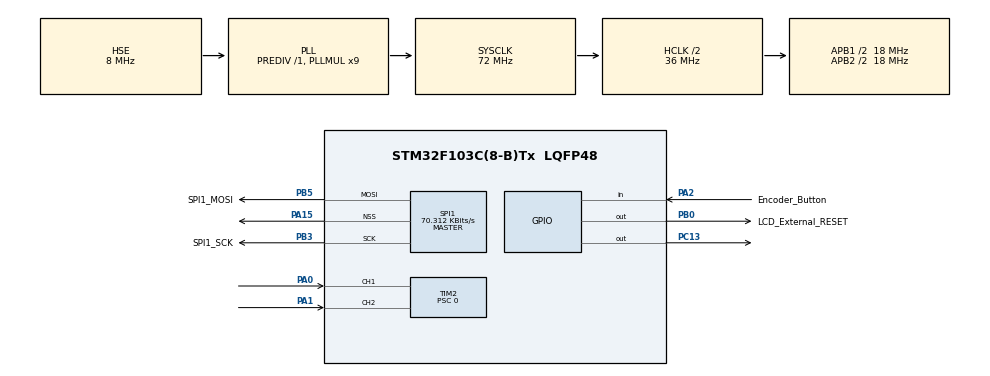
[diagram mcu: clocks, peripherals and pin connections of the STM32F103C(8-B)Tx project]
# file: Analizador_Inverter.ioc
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Mcu.Family=STM32F1
Mcu.Name=STM32F103C(8-B)Tx
Mcu.Package=LQFP48
NVIC.PriorityGroup=NVIC_PRIORITYGROUP_4
NVIC.SPI1_IRQn=true\:0\:0\:false\:false\:true\:true\:true
NVIC.TIM3_IRQn=true\:0\:0\:false\:false\:true\:true\:true
PA0-WKUP.Signal=S_TIM2_CH1_ETR
PA1.Signal=S_TIM2_CH2
PA13.Mode=Serial_Wire
PA13.Signal=SYS_JTMS-SWDIO
PA14.Mode=Serial_Wire
PA14.Signal=SYS_JTCK-SWCLK
PA15.Mode=NSS_Signal_Hard_Output
PA15.Signal=SPI1_NSS
PA2.GPIO_Label=Encoder_Button
PA2.Signal=GPIO_Input
PB0.GPIO_Label=LCD_External_RESET
PB0.Signal=GPIO_Output
PB3.GPIO_Label=SPI1_SCK
PB3.Mode=TX_Only_Simplex_Unidirect_Master
PB3.Signal=SPI1_SCK
PB5.GPIO_Label=SPI1_MOSI
PB5.Mode=TX_Only_Simplex_Unidirect_Master
PB5.Signal=SPI1_MOSI
PC13-TAMPER-RTC.Signal=GPIO_Output
PD0-OSC_IN.Mode=HSE-External-Oscillator
PD0-OSC_IN.Signal=RCC_OSC_IN
PD1-OSC_OUT.Mode=HSE-External-Oscillator
PD1-OSC_OUT.Signal=RCC_OSC_OUT
ProjectManager.HeapSize=0x200
ProjectManager.StackSize=0x400
ProjectManager.TargetToolchain=MDK-ARM V5
RCC.AHBCLKDivider=RCC_SYSCLK_DIV2
RCC.AHBFreq_Value=36000000
RCC.APB1CLKDivider=RCC_HCLK_DIV2
RCC.APB1Freq_Value=18000000
RCC.APB1TimFreq_Value=36000000
RCC.APB2CLKDivider=RCC_HCLK_DIV2
RCC.APB2Freq_Value=18000000
RCC.APB2TimFreq_Value=36000000
RCC.HCLKFreq_Value=36000000
RCC.PLLMUL=RCC_PLL_MUL9
RCC.PLLSourceVirtual=RCC_PLLSOURCE_HSE
RCC.SYSCLKFreq_VALUE=72000000
RCC.SYSCLKSource=RCC_SYSCLKSOURCE_PLLCLK
RCC.USBFreq_Value=72000000
SH.S_TIM2_CH1_ETR.0=TIM2_CH1,Encoder_Interface
SH.S_TIM2_CH2.0=TIM2_CH2,Encoder_Interface
SPI1.BaudRatePrescaler=SPI_BAUDRATEPRESCALER_256
SPI1.CLKPhase=SPI_PHASE_2EDGE
SPI1.CLKPolarity=SPI_POLARITY_HIGH
SPI1.CalculateBaudRate=70.312 KBits/s
SPI1.Direction=SPI_DIRECTION_2LINES
SPI1.Mode=SPI_MODE_MASTER
SPI1.VirtualNSS=VM_NSSHARD
SPI1.VirtualType=VM_MASTER
TIM1.Period=65535
TIM1.Prescaler=71
TIM2.ClockDivision=TIM_CLOCKDIVISION_DIV1
TIM2.IC1Filter=15
TIM2.IC2Filter=15
TIM2.Period=2
TIM2.Prescaler=0
TIM3.Period=1000
TIM3.Prescaler=35
VP_TIM1_VS_ClockSourceINT.Mode=Internal
VP_TIM3_VS_ClockSourceINT.Mode=Internal
board=custom

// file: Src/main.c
/**
  ******************************************************************************
  * @file           : main.c
  * @brief          : Main program body
  ******************************************************************************
  ** This notice applies to any and all portions of this file
  * that are not between comment pairs USER CODE BEGIN and
  * USER CODE END. Other portions of this file, whether
  * inserted by the user or by software development tools
  * are owned by their respective copyright owners.
  *
  * COPYRIGHT(c) 2020 STMicroelectronics
  *
  * Redistribution and use in source and binary forms, with or without modification,
  * are permitted provided that the following conditions are met:
  *   1. Redistributions of source code must retain the above copyright notice,
  *      this list of conditions and the following disclaimer.
  *   2. Redistributions in binary form must reproduce the above copyright notice,
  *      this list of conditions and the following disclaimer in the documentation
  *      and/or other materials provided with the distribution.
  *   3. Neither the name of STMicroelectronics nor the names of its contributors
  *      may be used to endorse or promote products derived from this software
  *      without specific prior written permission.
  *
  * THIS SOFTWARE IS PROVIDED BY THE COPYRIGHT HOLDERS AND CONTRIBUTORS "AS IS"
  * AND ANY EXPRESS OR IMPLIED WARRANTIES, INCLUDING, BUT NOT LIMITED TO, THE
  * IMPLIED WARRANTIES OF MERCHANTABILITY AND FITNESS FOR A PARTICULAR PURPOSE ARE
  * DISCLAIMED. IN NO EVENT SHALL THE COPYRIGHT HOLDER OR CONTRIBUTORS BE LIABLE
  * FOR ANY DIRECT, INDIRECT, INCIDENTAL, SPECIAL, EXEMPLARY, OR CONSEQUENTIAL
  * DAMAGES (INCLUDING, BUT NOT LIMITED TO, PROCUREMENT OF SUBSTITUTE GOODS OR
  * SERVICES; LOSS OF USE, DATA, OR PROFITS; OR BUSINESS INTERRUPTION) HOWEVER
  * CAUSED AND ON ANY THEORY OF LIABILITY, WHETHER IN CONTRACT, STRICT LIABILITY,
  * OR TORT (INCLUDING NEGLIGENCE OR OTHERWISE) ARISING IN ANY WAY OUT OF THE USE
  * OF THIS SOFTWARE, EVEN IF ADVISED OF THE POSSIBILITY OF SUCH DAMAGE.
  *
  ******************************************************************************
  */
#include "main.h"
#include "stm32f1xx_hal.h"

/* USER CODE BEGIN Includes */
#include "ST7920_SERIAL.h"
#include "delay.h"
#include "bitmap.h"
#include<string.h> //para hacer strlen(var)
/* USER CODE END Includes */

SPI_HandleTypeDef hspi1;

TIM_HandleTypeDef htim1;
TIM_HandleTypeDef htim2;
TIM_HandleTypeDef htim3;

/* USER CODE BEGIN PV */
/* Private variables ---------------------------------------------------------*/
uint8_t comenzar=0;
// Las variables que se tocan fuera del main tratar que sean Volatiles
volatile int8_t state=0;
volatile int8_t menuPrinted = 0;
volatile int8_t button = 0;
volatile int32_t contador_encoder=0XFF;//lo INICIALIZO FUERA DE RANGO
volatile uint8_t direccion_contador=0;

/* USER CODE END PV */

void SystemClock_Config(void);
static void MX_GPIO_Init(void);
static void MX_SPI1_Init(void);
static void MX_TIM1_Init(void);
static void MX_TIM2_Init(void);
static void MX_TIM3_Init(void);

/* USER CODE BEGIN PFP */
/* Private function prototypes -----------------------------------------------*/

/* USER CODE END PFP */

int main(void)
{

  /* MCU Configuration----------------------------------------------------------*/

  /* Reset of all peripherals, Initializes the Flash interface and the Systick. */
  HAL_Init();

  /* Configure the system clock */
  SystemClock_Config();

  /* Initialize all configured peripherals */
  MX_GPIO_Init();
  MX_SPI1_Init();
  MX_TIM1_Init();
  MX_TIM2_Init();
  MX_TIM3_Init();
  /* USER CODE BEGIN 2 */
	delay_init();
	ST7920_Init();
	HAL_TIM_Encoder_Start(&htim2,TIM_CHANNEL_ALL);

	ST7920_Clear();

	HAL_Delay(20);
	ST7920_GraphicMode(1);
	ST7920_DrawBitmap(bestools);
	HAL_Delay(20);

	ST7920_GraphicMode(0);
	ST7920_SendString(3,3, "M&M");
	HAL_Delay(1000);
	ST7920_Clear();
	ST7920_GraphicMode(1);
	ST7920_Clear();
	ST7920_GraphicMode(0);
	state=0; //Arranca con el menú principal

  /* USER CODE END 2 */

  /* Infinite loop */
  while (1)
  {

  /* USER CODE BEGIN 3 */
		if (menuPrinted == 0)
		{
			switch (state)
			// Este switch maneja el print del menú fijo
			{
				case 0:
					while(comenzar);
					ST7920_GraphicMode(1);
					ST7920_GraphicsDisplayString(0,0,"   Menu Inicio",0);
					ST7920_GraphicsDisplayString(2,0,"Test Completo",0);
					ST7920_GraphicsDisplayString(3,0,"Test Parcial",0);
					ST7920_GraphicsDisplayString(4,0,"Tipografia 5x7",0);
					//ST7920_GraphicsDisplayString5x7(5,0,"Tipografia 5x7 Mod",0);
					ST7920_GraphicsDisplayString5x7(5,0,"123 ",0);
					ST7920_GraphicsDisplayString5x7(6,0,"Gatos",0);
					ST7920_GraphicsDisplayString(7,0,"0",0);
					ST7920_GraphicsDisplayString(7,1,"1",0);
					ST7920_GraphicsDisplayString(7,2,"2",0);
					ST7920_GraphicsDisplayString(7,3,"3",0);
					ST7920_GraphicsDisplayString(7,4,"4",0);
					ST7920_GraphicsDisplayString(7,5,"5",0);
					ST7920_GraphicsDisplayString(7,6,"6",0);
					ST7920_GraphicsDisplayString(7,7,"7",0);
					ST7920_GraphicsDisplayString(7,8,"8",0);
					ST7920_GraphicMode(0);
					menuPrinted = 1; // Ya escribí el menú, miro el encoder
					break;

				case 1: //Analisis completo
					ST7920_GraphicMode(1);
					ST7920_Clear();
					ST7920_GraphicsDisplayString(0,0,"  Test Completo",0);
					ST7920_GraphicsDisplayString(2,0,"1.Colocar puntas",0);
					ST7920_GraphicsDisplayString(6,0,"Comenzar",0);
					ST7920_GraphicsDisplayString(7,0,"Cancelar",0);
					ST7920_GraphicMode(0);
					menuPrinted = 1; // Ya escribí el menú, miro el encoder
					break;

				default:
					while(1);
			}
		}
		else
		{
			if (state == 0)
			// Este if maneja el encoder y los parámetros variables del menú
			{
				HAL_TIM_Base_Start_IT(&htim3);
				switch (contador_encoder)
				{
					case 0:
						ST7920_GraphicMode(1);
						ST7920_GraphicsDisplayString(2,0,"Test Completo",1);// si presiono boton, aca por ejemplo tendria que cambiar state=1
						ST7920_GraphicsDisplayString(3,0,"Test Parcial",0);
						ST7920_GraphicMode(0);
						break;

					case 1:
						ST7920_GraphicMode(1);
						ST7920_GraphicsDisplayString(2,0,"Test Completo",0);
						ST7920_GraphicsDisplayString(3,0,"Test Parcial",1);
						ST7920_GraphicMode(0);
						break;
				}
			}
			if (state == 1)
			{
				HAL_TIM_Base_Start_IT(&htim3);
				switch (contador_encoder)
				{
					case 0:
						ST7920_GraphicMode(1);
						ST7920_GraphicsDisplayString(6,0,"Comenzar",1);
						ST7920_GraphicsDisplayString(7,0,"Cancelar",0);
						ST7920_GraphicMode(0);
						break;

					case 1:
						ST7920_GraphicMode(1);
						ST7920_GraphicsDisplayString(6,0,"Comenzar",0);
						ST7920_GraphicsDisplayString(7,0,"Cancelar",1);
						ST7920_GraphicMode(0);
						break;
				}
			}
		}
	}

	HAL_Delay(100);

  /* USER CODE END 3 */

}

void SystemClock_Config(void)
{

  RCC_OscInitTypeDef RCC_OscInitStruct;
  RCC_ClkInitTypeDef RCC_ClkInitStruct;

    /**Initializes the CPU, AHB and APB busses clocks
    */
  RCC_OscInitStruct.OscillatorType = RCC_OSCILLATORTYPE_HSE;
  RCC_OscInitStruct.HSEState = RCC_HSE_ON;
  RCC_OscInitStruct.HSEPredivValue = RCC_HSE_PREDIV_DIV1;
  RCC_OscInitStruct.HSIState = RCC_HSI_ON;
  RCC_OscInitStruct.PLL.PLLState = RCC_PLL_ON;
  RCC_OscInitStruct.PLL.PLLSource = RCC_PLLSOURCE_HSE;
  RCC_OscInitStruct.PLL.PLLMUL = RCC_PLL_MUL9;
  if (HAL_RCC_OscConfig(&RCC_OscInitStruct) != HAL_OK)
  {
    _Error_Handler(__FILE__, __LINE__);
  }

    /**Initializes the CPU, AHB and APB busses clocks
    */
  RCC_ClkInitStruct.ClockType = RCC_CLOCKTYPE_HCLK|RCC_CLOCKTYPE_SYSCLK
                              |RCC_CLOCKTYPE_PCLK1|RCC_CLOCKTYPE_PCLK2;
  RCC_ClkInitStruct.SYSCLKSource = RCC_SYSCLKSOURCE_PLLCLK;
  RCC_ClkInitStruct.AHBCLKDivider = RCC_SYSCLK_DIV2;
  RCC_ClkInitStruct.APB1CLKDivider = RCC_HCLK_DIV2;
  RCC_ClkInitStruct.APB2CLKDivider = RCC_HCLK_DIV2;

  if (HAL_RCC_ClockConfig(&RCC_ClkInitStruct, FLASH_LATENCY_2) != HAL_OK)
  {
    _Error_Handler(__FILE__, __LINE__);
  }

    /**Configure the Systick interrupt time
    */
  HAL_SYSTICK_Config(HAL_RCC_GetHCLKFreq()/1000);

    /**Configure the Systick
    */
  HAL_SYSTICK_CLKSourceConfig(SYSTICK_CLKSOURCE_HCLK);

  /* SysTick_IRQn interrupt configuration */
  HAL_NVIC_SetPriority(SysTick_IRQn, 0, 0);
}

/* SPI1 init function */
static void MX_SPI1_Init(void)
{

  /* SPI1 parameter configuration*/
  hspi1.Instance = SPI1;
  hspi1.Init.Mode = SPI_MODE_MASTER;
  hspi1.Init.Direction = SPI_DIRECTION_2LINES;
  hspi1.Init.DataSize = SPI_DATASIZE_8BIT;
  hspi1.Init.CLKPolarity = SPI_POLARITY_HIGH;
  hspi1.Init.CLKPhase = SPI_PHASE_2EDGE;
  hspi1.Init.NSS = SPI_NSS_HARD_OUTPUT;
  hspi1.Init.BaudRatePrescaler = SPI_BAUDRATEPRESCALER_256;
  hspi1.Init.FirstBit = SPI_FIRSTBIT_MSB;
  hspi1.Init.TIMode = SPI_TIMODE_DISABLE;
  hspi1.Init.CRCCalculation = SPI_CRCCALCULATION_DISABLE;
  hspi1.Init.CRCPolynomial = 10;
  if (HAL_SPI_Init(&hspi1) != HAL_OK)
  {
    _Error_Handler(__FILE__, __LINE__);
  }

}

/* TIM1 init function */
static void MX_TIM1_Init(void)
{

  TIM_ClockConfigTypeDef sClockSourceConfig;
  TIM_MasterConfigTypeDef sMasterConfig;

  htim1.Instance = TIM1;
  htim1.Init.Prescaler = 71;
  htim1.Init.CounterMode = TIM_COUNTERMODE_UP;
  htim1.Init.Period = 65535;
  htim1.Init.ClockDivision = TIM_CLOCKDIVISION_DIV1;
  htim1.Init.RepetitionCounter = 0;
  htim1.Init.AutoReloadPreload = TIM_AUTORELOAD_PRELOAD_DISABLE;
  if (HAL_TIM_Base_Init(&htim1) != HAL_OK)
  {
    _Error_Handler(__FILE__, __LINE__);
  }

  sClockSourceConfig.ClockSource = TIM_CLOCKSOURCE_INTERNAL;
  if (HAL_TIM_ConfigClockSource(&htim1, &sClockSourceConfig) != HAL_OK)
  {
    _Error_Handler(__FILE__, __LINE__);
  }

  sMasterConfig.MasterOutputTrigger = TIM_TRGO_RESET;
  sMasterConfig.MasterSlaveMode = TIM_MASTERSLAVEMODE_DISABLE;
  if (HAL_TIMEx_MasterConfigSynchronization(&htim1, &sMasterConfig) != HAL_OK)
  {
    _Error_Handler(__FILE__, __LINE__);
  }

}

/* TIM2 init function */
static void MX_TIM2_Init(void)
{

  TIM_Encoder_InitTypeDef sConfig;
  TIM_MasterConfigTypeDef sMasterConfig;

  htim2.Instance = TIM2;
  htim2.Init.Prescaler = 0;
  htim2.Init.CounterMode = TIM_COUNTERMODE_UP;
  htim2.Init.Period = 2;
  htim2.Init.ClockDivision = TIM_CLOCKDIVISION_DIV1;
  htim2.Init.AutoReloadPreload = TIM_AUTORELOAD_PRELOAD_DISABLE;
  sConfig.EncoderMode = TIM_ENCODERMODE_TI1;
  sConfig.IC1Polarity = TIM_ICPOLARITY_RISING;
  sConfig.IC1Selection = TIM_ICSELECTION_DIRECTTI;
  sConfig.IC1Prescaler = TIM_ICPSC_DIV1;
  sConfig.IC1Filter = 15;
  sConfig.IC2Polarity = TIM_ICPOLARITY_RISING;
  sConfig.IC2Selection = TIM_ICSELECTION_DIRECTTI;
  sConfig.IC2Prescaler = TIM_ICPSC_DIV1;
  sConfig.IC2Filter = 15;
  if (HAL_TIM_Encoder_Init(&htim2, &sConfig) != HAL_OK)
  {
    _Error_Handler(__FILE__, __LINE__);
  }

  sMasterConfig.MasterOutputTrigger = TIM_TRGO_RESET;
  sMasterConfig.MasterSlaveMode = TIM_MASTERSLAVEMODE_DISABLE;
  if (HAL_TIMEx_MasterConfigSynchronization(&htim2, &sMasterConfig) != HAL_OK)
  {
    _Error_Handler(__FILE__, __LINE__);
  }

}

/* TIM3 init function */
static void MX_TIM3_Init(void)
{

  TIM_ClockConfigTypeDef sClockSourceConfig;
  TIM_MasterConfigTypeDef sMasterConfig;

  htim3.Instance = TIM3;
  htim3.Init.Prescaler = 35;
  htim3.Init.CounterMode = TIM_COUNTERMODE_UP;
  htim3.Init.Period = 1000;
  htim3.Init.ClockDivision = TIM_CLOCKDIVISION_DIV1;
  htim3.Init.AutoReloadPreload = TIM_AUTORELOAD_PRELOAD_DISABLE;
  if (HAL_TIM_Base_Init(&htim3) != HAL_OK)
  {
    _Error_Handler(__FILE__, __LINE__);
  }

  sClockSourceConfig.ClockSource = TIM_CLOCKSOURCE_INTERNAL;
  if (HAL_TIM_ConfigClockSource(&htim3, &sClockSourceConfig) != HAL_OK)
  {
    _Error_Handler(__FILE__, __LINE__);
  }

  sMasterConfig.MasterOutputTrigger = TIM_TRGO_RESET;
  sMasterConfig.MasterSlaveMode = TIM_MASTERSLAVEMODE_DISABLE;
  if (HAL_TIMEx_MasterConfigSynchronization(&htim3, &sMasterConfig) != HAL_OK)
  {
    _Error_Handler(__FILE__, __LINE__);
  }

}

/** Configure pins as
        * Analog
        * Input
        * Output
        * EVENT_OUT
        * EXTI
*/
static void MX_GPIO_Init(void)
{

  GPIO_InitTypeDef GPIO_InitStruct;

  /* GPIO Ports Clock Enable */
  __HAL_RCC_GPIOC_CLK_ENABLE();
  __HAL_RCC_GPIOD_CLK_ENABLE();
  __HAL_RCC_GPIOA_CLK_ENABLE();
  __HAL_RCC_GPIOB_CLK_ENABLE();

  /*Configure GPIO pin Output Level */
  HAL_GPIO_WritePin(GPIOC, GPIO_PIN_13, GPIO_PIN_RESET);

  /*Configure GPIO pin Output Level */
  HAL_GPIO_WritePin(LCD_External_RESET_GPIO_Port, LCD_External_RESET_Pin, GPIO_PIN_RESET);

  /*Configure GPIO pin : PC13 */
  GPIO_InitStruct.Pin = GPIO_PIN_13;
  GPIO_InitStruct.Mode = GPIO_MODE_OUTPUT_PP;
  GPIO_InitStruct.Pull = GPIO_NOPULL;
  GPIO_InitStruct.Speed = GPIO_SPEED_FREQ_LOW;
  HAL_GPIO_Init(GPIOC, &GPIO_InitStruct);

  /*Configure GPIO pin : Encoder_Button_Pin */
  GPIO_InitStruct.Pin = Encoder_Button_Pin;
  GPIO_InitStruct.Mode = GPIO_MODE_INPUT;
  GPIO_InitStruct.Pull = GPIO_NOPULL;
  HAL_GPIO_Init(Encoder_Button_GPIO_Port, &GPIO_InitStruct);

  /*Configure GPIO pin : LCD_External_RESET_Pin */
  GPIO_InitStruct.Pin = LCD_External_RESET_Pin;
  GPIO_InitStruct.Mode = GPIO_MODE_OUTPUT_PP;
  GPIO_InitStruct.Pull = GPIO_NOPULL;
  GPIO_InitStruct.Speed = GPIO_SPEED_FREQ_LOW;
  HAL_GPIO_Init(LCD_External_RESET_GPIO_Port, &GPIO_InitStruct);

}

/* USER CODE BEGIN 4 */
 void HAL_TIM_PeriodElapsedCallback(TIM_HandleTypeDef *htim)
{
  char *str_aux="x";
	contador_encoder=TIM2->CNT;
	//direccion_contador=(TIM2->CR1&(1<<4))>>4;
	direccion_contador=TIM2->CR1>>4&1;
	 switch (contador_encoder)        //assumes string is 4 or less digits
  {
  case 0: {str_aux="0"; break;}
  case 1: {str_aux="1"; break;}
  //case 2: {str_aux="2" ; break;}
  }
	if (HAL_GPIO_ReadPin(GPIOA, Encoder_Button_Pin) == 0)
	{
		state = 1; // paso a menu completo
		menuPrinted = 0; // pido volver a printear
	}
	//ST7920_SendString(3,8,"2");
}
/* USER CODE END 4 */

void _Error_Handler(char *file, int line)
{
  while(1)
  {
  }
}

/************************ (C) COPYRIGHT STMicroelectronics *****END OF FILE****/
